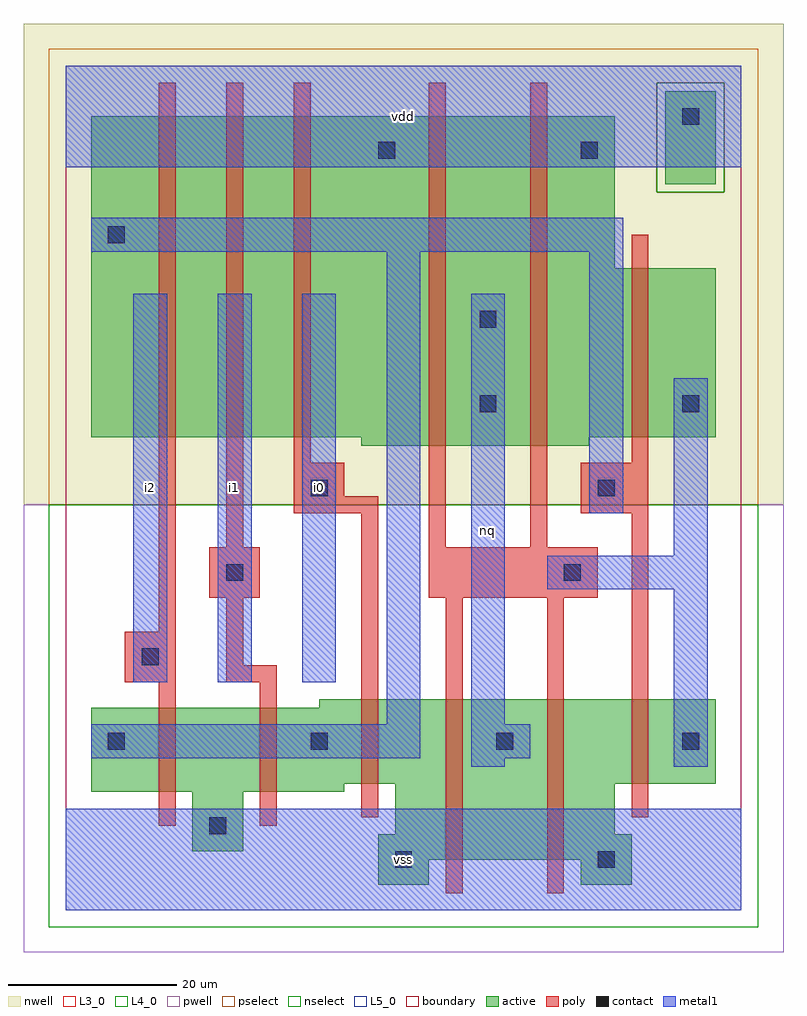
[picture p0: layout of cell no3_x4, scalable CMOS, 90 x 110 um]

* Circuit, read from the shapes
.subckt no3_x4 i0 i1 i2 nq vdd vss
M1 vss i2 n1 VSUBS nfet w=10u l=2u
M2 n1 i1 vss VSUBS nfet w=10u l=2u
M3 vss i0 n1 VSUBS nfet w=10u l=2u
M4 nq n2 vss VSUBS nfet w=19u l=2u m=2
M5 n2 n1 vss VSUBS nfet w=10u l=2u
M6 n3 i2 n1 vdd pfet w=38u l=2u
M7 n4 i1 n3 vdd pfet w=38u l=2u
M8 vdd i0 n4 vdd pfet w=38u l=2u
M9 nq n2 vdd vdd pfet w=39u l=2u m=2
M10 n2 n1 vdd vdd pfet w=20u l=2u
.ends

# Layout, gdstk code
import gdstk
lib = gdstk.Library(unit=1e-6, precision=1e-09)
def R(c, l, rs):  # rectangles x0, y0, x1, y1
    for r in rs: c.add(gdstk.rectangle(r[:2], r[2:], *l))
def A(c, l, x, y, w, h, nx, ny, dx, dy):  # array of equal rectangles
    R(c, l, [(x+i*dx, y+j*dy, x+i*dx+w, y+j*dy+h) for i in range(nx) for j in range(ny)])
L3_0 = (3, 0)
L4_0 = (4, 0)
L5_0 = (5, 0)
contact = (25, 0)
pwell = (41, 0)
nwell = (42, 0)
active = (43, 0)
pselect = (44, 0)
nselect = (45, 0)
poly = (46, 0)
metal1 = (49, 0)
boundary = (63, 0)

no3_x4 = lib.new_cell('no3_x4')
R(no3_x4, L3_0, [(37,3,43,6), (61,3,67,6), (37,6,67,9), (15,7,21,14), (39,9,65,15), (3,14,33,15), (3,15,77,24), (30,24,77,25)])
R(no3_x4, L4_0, [(35,55,62,56), (3,56,77,76), (3,76,65,94)])
R(no3_x4, L5_0, [(71,86,77,97)])
A(no3_x4, contact, 29, 19, 2, 2, 3, 1, 22, 0)
R(no3_x4, contact, [(39,5,41,7), (63,5,65,7), (17,9,19,11), (5,19,7,21), (9,29,11,31), (19,39,21,41), (59,39,61,41), (29,49,31,51), (63,49,65,51), (49,59,51,61), (73,59,75,61), (49,69,51,71), (5,79,7,81), (37,89,39,91), (61,89,63,91), (73,93,75,95)])
R(no3_x4, pwell, [(-5,-5,85,48)])
R(no3_x4, nwell, [(-5,48,85,105)])
R(no3_x4, active, [(37,3,43,6), (61,3,67,6), (37,6,67,9), (15,7,21,14), (39,9,65,15), (3,14,33,15), (3,15,77,24), (30,24,77,25), (35,55,62,56), (3,56,77,76), (3,76,65,94), (71,86,77,97)])
R(no3_x4, pselect, [(-2,48,82,85), (-2,85,70,98), (78,85,82,98), (-2,98,82,102)])
R(no3_x4, nselect, [(-2,-2,82,48), (70,85,78,98)])
R(no3_x4, poly, [(45,2,47,37), (57,2,59,37), (11,10,13,27), (23,10,25,27), (35,11,37,47), (67,11,69,47), (7,27,13,33), (19,27,25,29), (19,29,21,37), (11,33,13,98), (17,37,23,43), (43,37,63,43), (19,43,21,98), (43,43,45,98), (55,43,57,98), (27,47,37,49), (61,47,69,53), (27,49,33,53), (27,53,29,98), (67,53,69,80)])
A(no3_x4, metal1, 8, 27, 4, 46, 3, 1, 10, 0)
R(no3_x4, metal1, [(0,0,80,12), (48,17,52,18), (72,17,76,38), (3,18,42,22), (48,18,55,22), (38,22,42,78), (48,22,52,73), (57,38,76,42), (72,42,76,63), (62,47,66,78), (3,78,66,82), (0,88,80,100)])
R(no3_x4, boundary, [(0,0,80,100)])
no3_x4.add(gdstk.Label('i2', (10,50), layer=49, texttype=0))
no3_x4.add(gdstk.Label('i0', (30,50), layer=49, texttype=0))
no3_x4.add(gdstk.Label('i1', (20,50), layer=49, texttype=0))
no3_x4.add(gdstk.Label('vss', (40,6), layer=49, texttype=0))
no3_x4.add(gdstk.Label('nq', (50,45), layer=49, texttype=0))
no3_x4.add(gdstk.Label('vdd', (40,94), layer=49, texttype=0))

lib.write_gds('no3_x4.gds')
